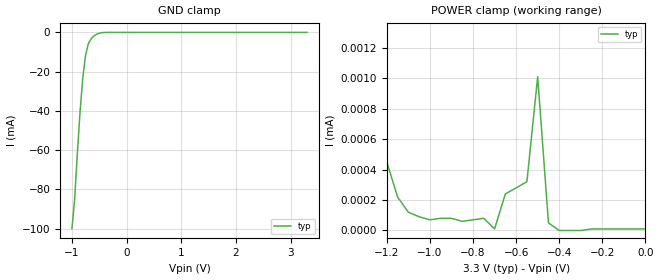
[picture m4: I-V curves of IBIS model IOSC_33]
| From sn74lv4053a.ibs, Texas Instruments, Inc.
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[Model]   IOSC_33
Model_type  Terminator
| variable   typ   min   max
C_comp   7.7pf   NA   NA
[Temperature Range]   27   NA   NA
[Voltage range]   3.3   NA   NA
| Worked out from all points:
|   GND clamp passes 1 mA (typ) near -0.55 V on its own axis
|   POWER clamp passes 1 mA (typ) near -1.90 V on its own axis
[GND Clamp]
| IOSC_33
|   Voltage   I(typ)   I(min)   I(max)
-1V       -100mA     NA         NA
-950mV    -85.12mA   NA         NA
-900mV    -61.36mA   NA         NA
-850mV    -40.01mA   NA         NA
-800mV    -22.89mA   NA         NA
-750mV    -11.57mA   NA         NA
-700mV    -5.823mA   NA         NA
-650mV    -3.274mA   NA         NA
-600mV    -1.893mA   NA         NA
-500mV    -440uA     NA         NA
-350mV    -6uA       NA         NA
3.3V      10nA       NA         NA
[POWER Clamp]
| IOS_33
|   Voltage   I(typ)   I(min)  I(max)
-3.3V     21.21mA    NA         NA
-1.3V     2.11uA     NA         NA
-1.25V    970nA      NA         NA
-1.2V     450nA      NA         NA
-1.15V    220nA      NA         NA
-1.05V    90nA       NA         NA
-700mV    10nA       NA         NA
-650mV    240nA      NA         NA
-550mV    320nA      NA         NA
-500mV    1.01uA     NA         NA
-450mV    50nA       NA         NA
0V        10nA       NA         NA
